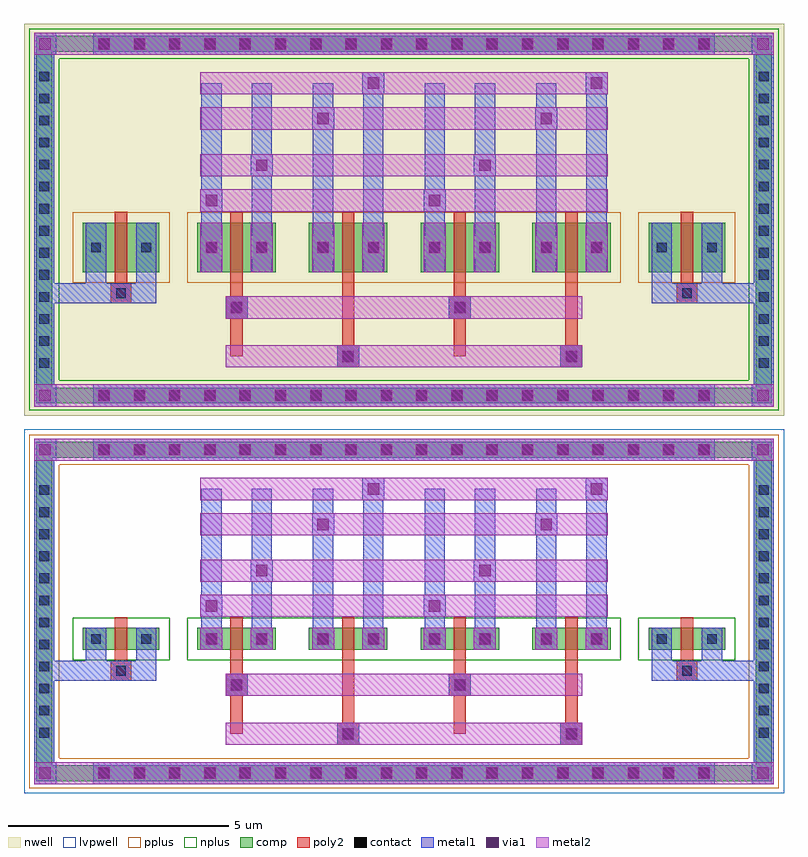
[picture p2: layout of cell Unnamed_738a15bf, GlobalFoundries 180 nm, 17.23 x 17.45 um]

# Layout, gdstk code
import gdstk
lib = gdstk.Library(unit=1e-6, precision=5e-09)
def R(c, l, rs):  # rectangles x0, y0, x1, y1
    for r in rs: c.add(gdstk.rectangle(r[:2], r[2:], *l))
def A(c, l, x, y, w, h, nx, ny, dx, dy):  # array of equal rectangles
    R(c, l, [(x+i*dx, y+j*dy, x+i*dx+w, y+j*dy+h) for i in range(nx) for j in range(ny)])
def P(c, l, *ps):  # polygons
    for p in ps: c.add(gdstk.Polygon(p, *l))
nwell = (21, 0)
comp = (22, 0)
poly2 = (30, 0)
pplus = (31, 0)
nplus = (32, 0)
contact = (33, 0)
metal1 = (34, 0)
via1 = (35, 0)
metal2 = (36, 0)
lvpwell = (204, 0)

unnamed_ce4cf929_1 = lib.new_cell('Unnamed_ce4cf929$1')
A(unnamed_ce4cf929_1, comp, -6.98, -4.165, 0.36, 0.36, 18, 2, 0.8, 7.97)
A(unnamed_ce4cf929_1, comp, -8.335, -3.43, 0.36, 0.36, 1, 14, 0, 0.5)
A(unnamed_ce4cf929_1, comp, 7.975, -3.43, 0.36, 0.36, 1, 14, 0, 0.5)
R(unnamed_ce4cf929_1, comp, [(-6.98,-4.165,6.98,-3.805), (-8.335,-3.43,-7.975,3.43), (7.975,-3.43,8.335,3.43), (-6.98,3.805,6.98,4.165)])
P(unnamed_ce4cf929_1, comp, [(-8.335,-4.165),(-8.335,-3.805),(-7.975,-3.805),(7.975,-3.805),(7.975,3.805),(-7.975,3.805),(-7.975,-3.805),(-8.335,-3.805),(-8.335,4.165),(8.335,4.165),(8.335,-4.165)])
P(unnamed_ce4cf929_1, nplus, [(-8.495,-4.325),(-8.495,-3.645),(-7.815,-3.645),(7.815,-3.645),(7.815,3.645),(-7.815,3.645),(-7.815,-3.645),(-8.495,-3.645),(-8.495,4.325),(8.495,4.325),(8.495,-4.325)])
A(unnamed_ce4cf929_1, contact, -6.91, -4.095, 0.22, 0.22, 18, 2, 0.8, 7.97)
A(unnamed_ce4cf929_1, contact, -8.265, -3.36, 0.22, 0.22, 1, 14, 0, 0.5)
A(unnamed_ce4cf929_1, contact, 8.045, -3.36, 0.22, 0.22, 1, 14, 0, 0.5)
A(unnamed_ce4cf929_1, metal1, -7.05, -4.235, 0.5, 0.5, 18, 2, 0.8, 7.97)
A(unnamed_ce4cf929_1, metal1, -8.385, -3.48, 0.46, 0.46, 1, 14, 0, 0.5)
A(unnamed_ce4cf929_1, metal1, 7.925, -3.48, 0.46, 0.46, 1, 14, 0, 0.5)
R(unnamed_ce4cf929_1, metal1, [(-8.385,-4.235,-7.885,-3.735), (-8.385,-4.235,-7.885,-3.735), (-8.385,-4.235,-7.925,-3.805), (-7.05,-4.235,7.05,-3.735), (7.885,-4.235,8.385,-3.735), (7.885,-4.235,8.385,-3.735), (7.925,-4.235,8.385,-3.805), (-8.385,-3.805,-7.925,3.805), (7.925,-3.805,8.385,3.805), (-8.385,3.735,-7.885,4.235), (-8.385,3.735,-7.885,4.235), (-7.05,3.735,7.05,4.235), (7.885,3.735,8.385,4.235), (7.885,3.735,8.385,4.235), (-8.385,3.805,-7.925,4.235), (7.925,3.805,8.385,4.235)])
A(unnamed_ce4cf929_1, via1, -6.93, -4.115, 0.26, 0.26, 18, 2, 0.8, 7.97)
R(unnamed_ce4cf929_1, via1, [(-8.265,-4.115,-8.005,-3.855), (8.005,-4.115,8.265,-3.855), (-8.265,3.855,-8.005,4.115), (8.005,3.855,8.265,4.115)])
A(unnamed_ce4cf929_1, metal2, -7.05, -4.235, 0.5, 0.5, 18, 2, 0.8, 7.97)
R(unnamed_ce4cf929_1, metal2, [(-8.385,-4.235,-7.975,-3.735), (-8.385,-4.235,-7.885,-3.735), (-8.385,-4.235,-7.885,-3.735), (-7.975,-4.235,7.975,-3.735), (7.885,-4.235,8.385,-3.735), (7.885,-4.235,8.385,-3.735), (7.975,-4.235,8.385,-3.735), (-8.385,3.735,-7.975,4.235), (-8.385,3.735,-7.885,4.235), (-8.385,3.735,-7.885,4.235), (-7.975,3.735,7.975,4.235), (7.885,3.735,8.385,4.235), (7.885,3.735,8.385,4.235), (7.975,3.735,8.385,4.235)])

straight_route_c93f976d = lib.new_cell('straight_route_c93f976d')
R(straight_route_c93f976d, metal1, [(-8.385,-1.895,-6.645,-1.435)])

straight_route_30a24052 = lib.new_cell('straight_route_30a24052')
R(straight_route_30a24052, metal1, [(6.645,-1.895,8.385,-1.435)])

transformed_169e21c9 = lib.new_cell('transformed_169e21c9')
R(transformed_169e21c9, nwell, [(-8.615,-4.445,8.615,4.445)])
A(transformed_169e21c9, comp, -4.685, -1.195, 1.78, 1.13, 4, 1, 2.53, 0)
R(transformed_169e21c9, comp, [(-7.285,-1.195,-5.545,-0.065), (5.545,-1.195,7.285,-0.065)])
A(transformed_169e21c9, poly2, -3.935, -1.435, 0.28, 1.61, 4, 1, 2.53, 0)
R(transformed_169e21c9, poly2, [(-1.515,-3.35,-1.015,-2.85), (3.545,-3.35,4.045,-2.85), (-1.445,-3.28,-1.085,-2.92), (3.615,-3.28,3.975,-2.92), (-3.935,-3.1,-3.655,-1.435), (1.125,-3.1,1.405,-1.435), (-1.405,-2.85,-1.125,-1.435), (3.655,-2.85,3.935,-1.435), (-4.045,-2.24,-3.545,-1.74), (1.015,-2.24,1.515,-1.74), (-3.975,-2.17,-3.615,-1.81), (1.085,-2.17,1.445,-1.81), (-6.645,-1.895,-6.185,-1.435), (6.185,-1.895,6.645,-1.435), (-6.595,-1.845,-6.235,-1.485), (6.235,-1.845,6.595,-1.485), (-3.935,-1.74,-3.655,-1.435), (1.125,-1.74,1.405,-1.435), (-6.555,-1.435,-6.275,0.175), (6.275,-1.435,6.555,0.175)])
A(transformed_169e21c9, pplus, -4.915, -1.425, 2.24, 1.59, 4, 1, 2.53, 0)
R(transformed_169e21c9, pplus, [(-7.515,-1.425,-5.315,0.165), (-4.915,-1.425,4.915,0.165), (5.315,-1.425,7.515,0.165)])
R(transformed_169e21c9, contact, [(-1.375,-3.21,-1.155,-2.99), (3.685,-3.21,3.905,-2.99), (-3.905,-2.1,-3.685,-1.88), (1.155,-2.1,1.375,-1.88), (-6.525,-1.775,-6.305,-1.555), (6.305,-1.775,6.525,-1.555), (-7.095,-0.74,-6.875,-0.52), (-5.955,-0.74,-5.735,-0.52), (-4.475,-0.74,-4.255,-0.52), (-3.335,-0.74,-3.115,-0.52), (-1.945,-0.74,-1.725,-0.52), (-0.805,-0.74,-0.585,-0.52), (0.585,-0.74,0.805,-0.52), (1.725,-0.74,1.945,-0.52), (3.115,-0.74,3.335,-0.52), (4.255,-0.74,4.475,-0.52), (5.735,-0.74,5.955,-0.52), (6.875,-0.74,7.095,-0.52)])
R(transformed_169e21c9, metal1, [(-1.515,-3.35,-1.015,-2.85), (3.545,-3.35,4.045,-2.85), (-4.045,-2.24,-3.545,-1.74), (1.015,-2.24,1.515,-1.74), (-7.215,-1.895,-6.645,-1.435), (-7.215,-1.895,-6.755,-1.195), (-6.645,-1.895,-6.185,-1.435), (-6.185,-1.895,-5.615,-1.435), (-6.075,-1.895,-5.615,-1.195), (5.615,-1.895,6.185,-1.435), (5.615,-1.895,6.075,-1.195), (6.185,-1.895,6.645,-1.435), (6.645,-1.895,7.215,-1.435), (6.755,-1.895,7.215,-1.195), (-7.215,-1.195,-6.755,-0.065), (-6.075,-1.195,-5.615,-0.065), (-4.595,-1.195,-4.135,-0.065), (-3.455,-1.195,-2.995,-0.065), (-2.065,-1.195,-1.605,-0.065), (-0.925,-1.195,-0.465,-0.065), (0.465,-1.195,0.925,-0.065), (1.605,-1.195,2.065,-0.065), (2.995,-1.195,3.455,-0.065), (4.135,-1.195,4.595,-0.065), (5.615,-1.195,6.075,-0.065), (6.755,-1.195,7.215,-0.065), (-4.615,-0.88,-4.115,-0.38), (-4.615,-0.88,-4.115,-0.38), (-3.475,-0.88,-2.975,-0.38), (-3.475,-0.88,-2.975,-0.38), (-2.085,-0.88,-1.585,-0.38), (-2.085,-0.88,-1.585,-0.38), (-0.945,-0.88,-0.445,-0.38), (-0.945,-0.88,-0.445,-0.38), (0.445,-0.88,0.945,-0.38), (0.445,-0.88,0.945,-0.38), (1.585,-0.88,2.085,-0.38), (1.585,-0.88,2.085,-0.38), (2.975,-0.88,3.475,-0.38), (2.975,-0.88,3.475,-0.38), (4.115,-0.88,4.615,-0.38), (4.115,-0.88,4.615,-0.38), (-7.215,-0.86,-6.755,-0.4), (-6.075,-0.86,-5.615,-0.4), (-4.595,-0.86,-4.135,-0.4), (-3.455,-0.86,-2.995,-0.4), (-2.065,-0.86,-1.605,-0.4), (-0.925,-0.86,-0.465,-0.4), (0.465,-0.86,0.925,-0.4), (1.605,-0.86,2.065,-0.4), (2.995,-0.86,3.455,-0.4), (4.135,-0.86,4.595,-0.4), (5.615,-0.86,6.075,-0.4), (6.755,-0.86,7.215,-0.4), (-4.595,-0.065,-4.135,0.685), (-4.595,-0.065,-4.135,3.095), (-3.455,-0.065,-2.995,1.485), (-3.455,-0.065,-2.995,3.095), (-2.065,-0.065,-1.605,2.545), (-2.065,-0.065,-1.605,3.095), (-0.925,-0.065,-0.465,3.345), (-0.925,-0.065,-0.465,3.095), (0.465,-0.065,0.925,0.685), (0.465,-0.065,0.925,3.095), (1.605,-0.065,2.065,1.485), (1.605,-0.065,2.065,3.095), (2.995,-0.065,3.455,2.545), (2.995,-0.065,3.455,3.095), (4.135,-0.065,4.595,3.345), (4.135,-0.065,4.595,3.095), (-4.615,0.185,-4.115,0.685), (0.445,0.185,0.945,0.685), (-3.475,0.985,-2.975,1.485), (1.585,0.985,2.085,1.485), (-2.085,2.045,-1.585,2.545), (2.975,2.045,3.475,2.545), (-0.945,2.845,-0.445,3.345), (4.115,2.845,4.615,3.345)])
R(transformed_169e21c9, via1, [(-1.395,-3.23,-1.135,-2.97), (3.665,-3.23,3.925,-2.97), (-3.925,-2.12,-3.665,-1.86), (1.135,-2.12,1.395,-1.86), (-4.495,-0.76,-4.235,-0.5), (-3.355,-0.76,-3.095,-0.5), (-1.965,-0.76,-1.705,-0.5), (-0.825,-0.76,-0.565,-0.5), (0.565,-0.76,0.825,-0.5), (1.705,-0.76,1.965,-0.5), (3.095,-0.76,3.355,-0.5), (4.235,-0.76,4.495,-0.5), (-4.495,0.305,-4.235,0.565), (0.565,0.305,0.825,0.565), (-3.355,1.105,-3.095,1.365), (1.705,1.105,1.965,1.365), (-1.965,2.165,-1.705,2.425), (3.095,2.165,3.355,2.425), (-0.825,2.965,-0.565,3.225), (4.235,2.965,4.495,3.225)])
R(transformed_169e21c9, metal2, [(-4.045,-3.35,4.045,-2.85), (-1.515,-3.35,-1.015,-2.85), (-1.515,-3.35,-1.015,-2.85), (3.545,-3.35,4.045,-2.85), (3.545,-3.35,4.045,-2.85), (-4.045,-2.24,-3.545,-1.74), (-4.045,-2.24,-3.545,-1.74), (-4.045,-2.24,4.045,-1.74), (1.015,-2.24,1.515,-1.74), (1.015,-2.24,1.515,-1.74), (-4.615,-1.195,-4.115,-0.065), (-3.475,-1.195,-2.975,-0.065), (-2.085,-1.195,-1.585,-0.065), (-0.945,-1.195,-0.445,-0.065), (0.445,-1.195,0.945,-0.065), (1.585,-1.195,2.085,-0.065), (2.975,-1.195,3.475,-0.065), (4.115,-1.195,4.615,-0.065), (-4.615,-0.88,-4.115,-0.38), (-3.475,-0.88,-2.975,-0.38), (-2.085,-0.88,-1.585,-0.38), (-0.945,-0.88,-0.445,-0.38), (0.445,-0.88,0.945,-0.38), (1.585,-0.88,2.085,-0.38), (2.975,-0.88,3.475,-0.38), (4.115,-0.88,4.615,-0.38), (-4.615,0.185,-4.115,0.685), (-4.615,0.185,-2.975,0.685), (-4.615,0.185,4.615,0.685), (0.445,0.185,0.945,0.685), (0.445,0.185,2.085,0.685), (-4.615,0.985,-2.975,1.485), (-4.615,0.985,4.615,1.485), (-3.475,0.985,-2.975,1.485), (0.445,0.985,2.085,1.485), (1.585,0.985,2.085,1.485), (-4.615,2.045,4.615,2.545), (-2.085,2.045,-1.585,2.545), (-2.085,2.045,-0.445,2.545), (2.975,2.045,3.475,2.545), (2.975,2.045,4.615,2.545), (-4.615,2.845,4.615,3.345), (-2.085,2.845,-0.445,3.345), (-0.945,2.845,-0.445,3.345), (2.975,2.845,4.615,3.345), (4.115,2.845,4.615,3.345)])
transformed_169e21c9.add(gdstk.Reference(unnamed_ce4cf929_1, (0,0)))
transformed_169e21c9.add(gdstk.Reference(straight_route_c93f976d, (0,0)))
transformed_169e21c9.add(gdstk.Reference(straight_route_30a24052, (0,0)))

unnamed_e4e65c44_1 = lib.new_cell('Unnamed_e4e65c44$1')
A(unnamed_e4e65c44_1, comp, -6.98, -3.845, 0.36, 0.36, 18, 2, 0.8, 7.33)
A(unnamed_e4e65c44_1, comp, -8.335, -2.93, 0.36, 0.36, 1, 12, 0, 0.5)
A(unnamed_e4e65c44_1, comp, 7.975, -2.93, 0.36, 0.36, 1, 12, 0, 0.5)
R(unnamed_e4e65c44_1, comp, [(-6.98,-3.845,6.98,-3.485), (-8.335,-2.93,-7.975,2.93), (7.975,-2.93,8.335,2.93), (-6.98,3.485,6.98,3.845)])
P(unnamed_e4e65c44_1, comp, [(-8.335,-3.845),(-8.335,-3.485),(-7.975,-3.485),(7.975,-3.485),(7.975,3.485),(-7.975,3.485),(-7.975,-3.485),(-8.335,-3.485),(-8.335,3.845),(8.335,3.845),(8.335,-3.845)])
P(unnamed_e4e65c44_1, pplus, [(-8.495,-4.005),(-8.495,-3.325),(-7.815,-3.325),(7.815,-3.325),(7.815,3.325),(-7.815,3.325),(-7.815,-3.325),(-8.495,-3.325),(-8.495,4.005),(8.495,4.005),(8.495,-4.005)])
A(unnamed_e4e65c44_1, contact, -6.91, -3.775, 0.22, 0.22, 18, 2, 0.8, 7.33)
A(unnamed_e4e65c44_1, contact, -8.265, -2.86, 0.22, 0.22, 1, 12, 0, 0.5)
A(unnamed_e4e65c44_1, contact, 8.045, -2.86, 0.22, 0.22, 1, 12, 0, 0.5)
A(unnamed_e4e65c44_1, metal1, -7.05, -3.915, 0.5, 0.5, 18, 2, 0.8, 7.33)
A(unnamed_e4e65c44_1, metal1, -8.385, -2.98, 0.46, 0.46, 1, 12, 0, 0.5)
A(unnamed_e4e65c44_1, metal1, 7.925, -2.98, 0.46, 0.46, 1, 12, 0, 0.5)
R(unnamed_e4e65c44_1, metal1, [(-8.385,-3.915,-7.885,-3.415), (-8.385,-3.915,-7.885,-3.415), (-8.385,-3.915,-7.925,-3.485), (-7.05,-3.915,7.05,-3.415), (7.885,-3.915,8.385,-3.415), (7.885,-3.915,8.385,-3.415), (7.925,-3.915,8.385,-3.485), (-8.385,-3.485,-7.925,3.485), (7.925,-3.485,8.385,3.485), (-8.385,3.415,-7.885,3.915), (-8.385,3.415,-7.885,3.915), (-7.05,3.415,7.05,3.915), (7.885,3.415,8.385,3.915), (7.885,3.415,8.385,3.915), (-8.385,3.485,-7.925,3.915), (7.925,3.485,8.385,3.915)])
A(unnamed_e4e65c44_1, via1, -6.93, -3.795, 0.26, 0.26, 18, 2, 0.8, 7.33)
R(unnamed_e4e65c44_1, via1, [(-8.265,-3.795,-8.005,-3.535), (8.005,-3.795,8.265,-3.535), (-8.265,3.535,-8.005,3.795), (8.005,3.535,8.265,3.795)])
A(unnamed_e4e65c44_1, metal2, -7.05, -3.915, 0.5, 0.5, 18, 2, 0.8, 7.33)
R(unnamed_e4e65c44_1, metal2, [(-8.385,-3.915,-7.975,-3.415), (-8.385,-3.915,-7.885,-3.415), (-8.385,-3.915,-7.885,-3.415), (-7.975,-3.915,7.975,-3.415), (7.885,-3.915,8.385,-3.415), (7.885,-3.915,8.385,-3.415), (7.975,-3.915,8.385,-3.415), (-8.385,3.415,-7.975,3.915), (-8.385,3.415,-7.885,3.915), (-8.385,3.415,-7.885,3.915), (-7.975,3.415,7.975,3.915), (7.885,3.415,8.385,3.915), (7.885,3.415,8.385,3.915), (7.975,3.415,8.385,3.915)])

straight_route_01bec894 = lib.new_cell('straight_route_01bec894')
R(straight_route_01bec894, metal1, [(-8.385,-1.575,-6.645,-1.115)])

straight_route_2d2bfea9 = lib.new_cell('straight_route_2d2bfea9')
R(straight_route_2d2bfea9, metal1, [(6.645,-1.575,8.385,-1.115)])

transformed_f4ea7a6c = lib.new_cell('transformed_f4ea7a6c')
A(transformed_f4ea7a6c, comp, -4.685, -0.875, 1.78, 0.5, 4, 1, 2.53, 0)
R(transformed_f4ea7a6c, comp, [(-7.285,-0.875,-5.545,-0.375), (5.545,-0.875,7.285,-0.375)])
A(transformed_f4ea7a6c, poly2, -3.935, -1.115, 0.28, 0.98, 4, 1, 2.53, 0)
R(transformed_f4ea7a6c, poly2, [(-1.515,-3.025,-1.015,-2.525), (3.545,-3.025,4.045,-2.525), (-1.445,-2.955,-1.085,-2.595), (3.615,-2.955,3.975,-2.595), (-3.935,-2.775,-3.655,-1.115), (1.125,-2.775,1.405,-1.115), (-1.405,-2.525,-1.125,-1.115), (3.655,-2.525,3.935,-1.115), (-4.045,-1.915,-3.545,-1.415), (1.015,-1.915,1.515,-1.415), (-3.975,-1.845,-3.615,-1.485), (1.085,-1.845,1.445,-1.485), (-6.645,-1.575,-6.185,-1.115), (6.185,-1.575,6.645,-1.115), (-6.595,-1.525,-6.235,-1.165), (6.235,-1.525,6.595,-1.165), (-3.935,-1.415,-3.655,-1.115), (1.125,-1.415,1.405,-1.115), (-6.555,-1.115,-6.275,-0.135), (6.275,-1.115,6.555,-0.135)])
A(transformed_f4ea7a6c, nplus, -4.915, -1.105, 2.24, 0.96, 4, 1, 2.53, 0)
R(transformed_f4ea7a6c, nplus, [(-7.515,-1.105,-5.315,-0.145), (-4.915,-1.105,4.915,-0.145), (5.315,-1.105,7.515,-0.145)])
R(transformed_f4ea7a6c, contact, [(-1.375,-2.885,-1.155,-2.665), (3.685,-2.885,3.905,-2.665), (-3.905,-1.775,-3.685,-1.555), (1.155,-1.775,1.375,-1.555), (-6.525,-1.455,-6.305,-1.235), (6.305,-1.455,6.525,-1.235), (-7.095,-0.735,-6.875,-0.515), (-5.955,-0.735,-5.735,-0.515), (-4.475,-0.735,-4.255,-0.515), (-3.335,-0.735,-3.115,-0.515), (-1.945,-0.735,-1.725,-0.515), (-0.805,-0.735,-0.585,-0.515), (0.585,-0.735,0.805,-0.515), (1.725,-0.735,1.945,-0.515), (3.115,-0.735,3.335,-0.515), (4.255,-0.735,4.475,-0.515), (5.735,-0.735,5.955,-0.515), (6.875,-0.735,7.095,-0.515)])
R(transformed_f4ea7a6c, metal1, [(-1.515,-3.025,-1.015,-2.525), (3.545,-3.025,4.045,-2.525), (-4.045,-1.915,-3.545,-1.415), (1.015,-1.915,1.515,-1.415), (-7.215,-1.575,-6.645,-1.115), (-7.215,-1.575,-6.755,-0.875), (-6.645,-1.575,-6.185,-1.115), (-6.185,-1.575,-5.615,-1.115), (-6.075,-1.575,-5.615,-0.875), (5.615,-1.575,6.185,-1.115), (5.615,-1.575,6.075,-0.875), (6.185,-1.575,6.645,-1.115), (6.645,-1.575,7.215,-1.115), (6.755,-1.575,7.215,-0.875), (-7.215,-0.875,-6.755,-0.375), (-6.075,-0.875,-5.615,-0.375), (-4.615,-0.875,-4.115,-0.375), (-4.615,-0.875,-4.115,-0.375), (-4.595,-0.875,-4.135,-0.375), (-3.475,-0.875,-2.975,-0.375), (-3.475,-0.875,-2.975,-0.375), (-3.455,-0.875,-2.995,-0.375), (-2.085,-0.875,-1.585,-0.375), (-2.085,-0.875,-1.585,-0.375), (-2.065,-0.875,-1.605,-0.375), (-0.945,-0.875,-0.445,-0.375), (-0.945,-0.875,-0.445,-0.375), (-0.925,-0.875,-0.465,-0.375), (0.445,-0.875,0.945,-0.375), (0.445,-0.875,0.945,-0.375), (0.465,-0.875,0.925,-0.375), (1.585,-0.875,2.085,-0.375), (1.585,-0.875,2.085,-0.375), (1.605,-0.875,2.065,-0.375), (2.975,-0.875,3.475,-0.375), (2.975,-0.875,3.475,-0.375), (2.995,-0.875,3.455,-0.375), (4.115,-0.875,4.615,-0.375), (4.115,-0.875,4.615,-0.375), (4.135,-0.875,4.595,-0.375), (5.615,-0.875,6.075,-0.375), (6.755,-0.875,7.215,-0.375), (-7.215,-0.855,-6.755,-0.395), (-6.075,-0.855,-5.615,-0.395), (-4.595,-0.855,-4.135,-0.395), (-3.455,-0.855,-2.995,-0.395), (-2.065,-0.855,-1.605,-0.395), (-0.925,-0.855,-0.465,-0.395), (0.465,-0.855,0.925,-0.395), (1.605,-0.855,2.065,-0.395), (2.995,-0.855,3.455,-0.395), (4.135,-0.855,4.595,-0.395), (5.615,-0.855,6.075,-0.395), (6.755,-0.855,7.215,-0.395), (-4.595,-0.375,-4.135,0.375), (-4.595,-0.375,-4.135,2.775), (-3.455,-0.375,-2.995,1.175), (-3.455,-0.375,-2.995,2.775), (-2.065,-0.375,-1.605,2.225), (-2.065,-0.375,-1.605,2.775), (-0.925,-0.375,-0.465,3.025), (-0.925,-0.375,-0.465,2.775), (0.465,-0.375,0.925,0.375), (0.465,-0.375,0.925,2.775), (1.605,-0.375,2.065,1.175), (1.605,-0.375,2.065,2.775), (2.995,-0.375,3.455,2.225), (2.995,-0.375,3.455,2.775), (4.135,-0.375,4.595,3.025), (4.135,-0.375,4.595,2.775), (-4.615,-0.125,-4.115,0.375), (0.445,-0.125,0.945,0.375), (-3.475,0.675,-2.975,1.175), (1.585,0.675,2.085,1.175), (-2.085,1.725,-1.585,2.225), (2.975,1.725,3.475,2.225), (-0.945,2.525,-0.445,3.025), (4.115,2.525,4.615,3.025)])
R(transformed_f4ea7a6c, via1, [(-1.395,-2.905,-1.135,-2.645), (3.665,-2.905,3.925,-2.645), (-3.925,-1.795,-3.665,-1.535), (1.135,-1.795,1.395,-1.535), (-4.495,-0.755,-4.235,-0.495), (-3.355,-0.755,-3.095,-0.495), (-1.965,-0.755,-1.705,-0.495), (-0.825,-0.755,-0.565,-0.495), (0.565,-0.755,0.825,-0.495), (1.705,-0.755,1.965,-0.495), (3.095,-0.755,3.355,-0.495), (4.235,-0.755,4.495,-0.495), (-4.495,-0.005,-4.235,0.255), (0.565,-0.005,0.825,0.255), (-3.355,0.795,-3.095,1.055), (1.705,0.795,1.965,1.055), (-1.965,1.845,-1.705,2.105), (3.095,1.845,3.355,2.105), (-0.825,2.645,-0.565,2.905), (4.235,2.645,4.495,2.905)])
R(transformed_f4ea7a6c, metal2, [(-4.045,-3.025,4.045,-2.525), (-1.515,-3.025,-1.015,-2.525), (-1.515,-3.025,-1.015,-2.525), (3.545,-3.025,4.045,-2.525), (3.545,-3.025,4.045,-2.525), (-4.045,-1.915,-3.545,-1.415), (-4.045,-1.915,-3.545,-1.415), (-4.045,-1.915,4.045,-1.415), (1.015,-1.915,1.515,-1.415), (1.015,-1.915,1.515,-1.415), (-4.615,-0.875,-4.115,-0.375), (-4.615,-0.875,-4.115,-0.375), (-3.475,-0.875,-2.975,-0.375), (-3.475,-0.875,-2.975,-0.375), (-2.085,-0.875,-1.585,-0.375), (-2.085,-0.875,-1.585,-0.375), (-0.945,-0.875,-0.445,-0.375), (-0.945,-0.875,-0.445,-0.375), (0.445,-0.875,0.945,-0.375), (0.445,-0.875,0.945,-0.375), (1.585,-0.875,2.085,-0.375), (1.585,-0.875,2.085,-0.375), (2.975,-0.875,3.475,-0.375), (2.975,-0.875,3.475,-0.375), (4.115,-0.875,4.615,-0.375), (4.115,-0.875,4.615,-0.375), (-4.615,-0.125,-4.115,0.375), (-4.615,-0.125,-2.975,0.375), (-4.615,-0.125,4.615,0.375), (0.445,-0.125,0.945,0.375), (0.445,-0.125,2.085,0.375), (-4.615,0.675,-2.975,1.175), (-4.615,0.675,4.615,1.175), (-3.475,0.675,-2.975,1.175), (0.445,0.675,2.085,1.175), (1.585,0.675,2.085,1.175), (-4.615,1.725,4.615,2.225), (-2.085,1.725,-1.585,2.225), (-2.085,1.725,-0.445,2.225), (2.975,1.725,3.475,2.225), (2.975,1.725,4.615,2.225), (-4.615,2.525,4.615,3.025), (-2.085,2.525,-0.445,3.025), (-0.945,2.525,-0.445,3.025), (2.975,2.525,4.615,3.025), (4.115,2.525,4.615,3.025)])
R(transformed_f4ea7a6c, lvpwell, [(-8.615,-4.125,8.615,4.125)])
transformed_f4ea7a6c.add(gdstk.Reference(unnamed_e4e65c44_1, (0,0)))
transformed_f4ea7a6c.add(gdstk.Reference(straight_route_01bec894, (0,0)))
transformed_f4ea7a6c.add(gdstk.Reference(straight_route_2d2bfea9, (0,0)))

unnamed_738a15bf = lib.new_cell('Unnamed_738a15bf')
unnamed_738a15bf.add(gdstk.Reference(transformed_169e21c9, (0,8.88)))
unnamed_738a15bf.add(gdstk.Reference(transformed_f4ea7a6c, (0,0)))

lib.write_gds('Unnamed_738a15bf.gds')
